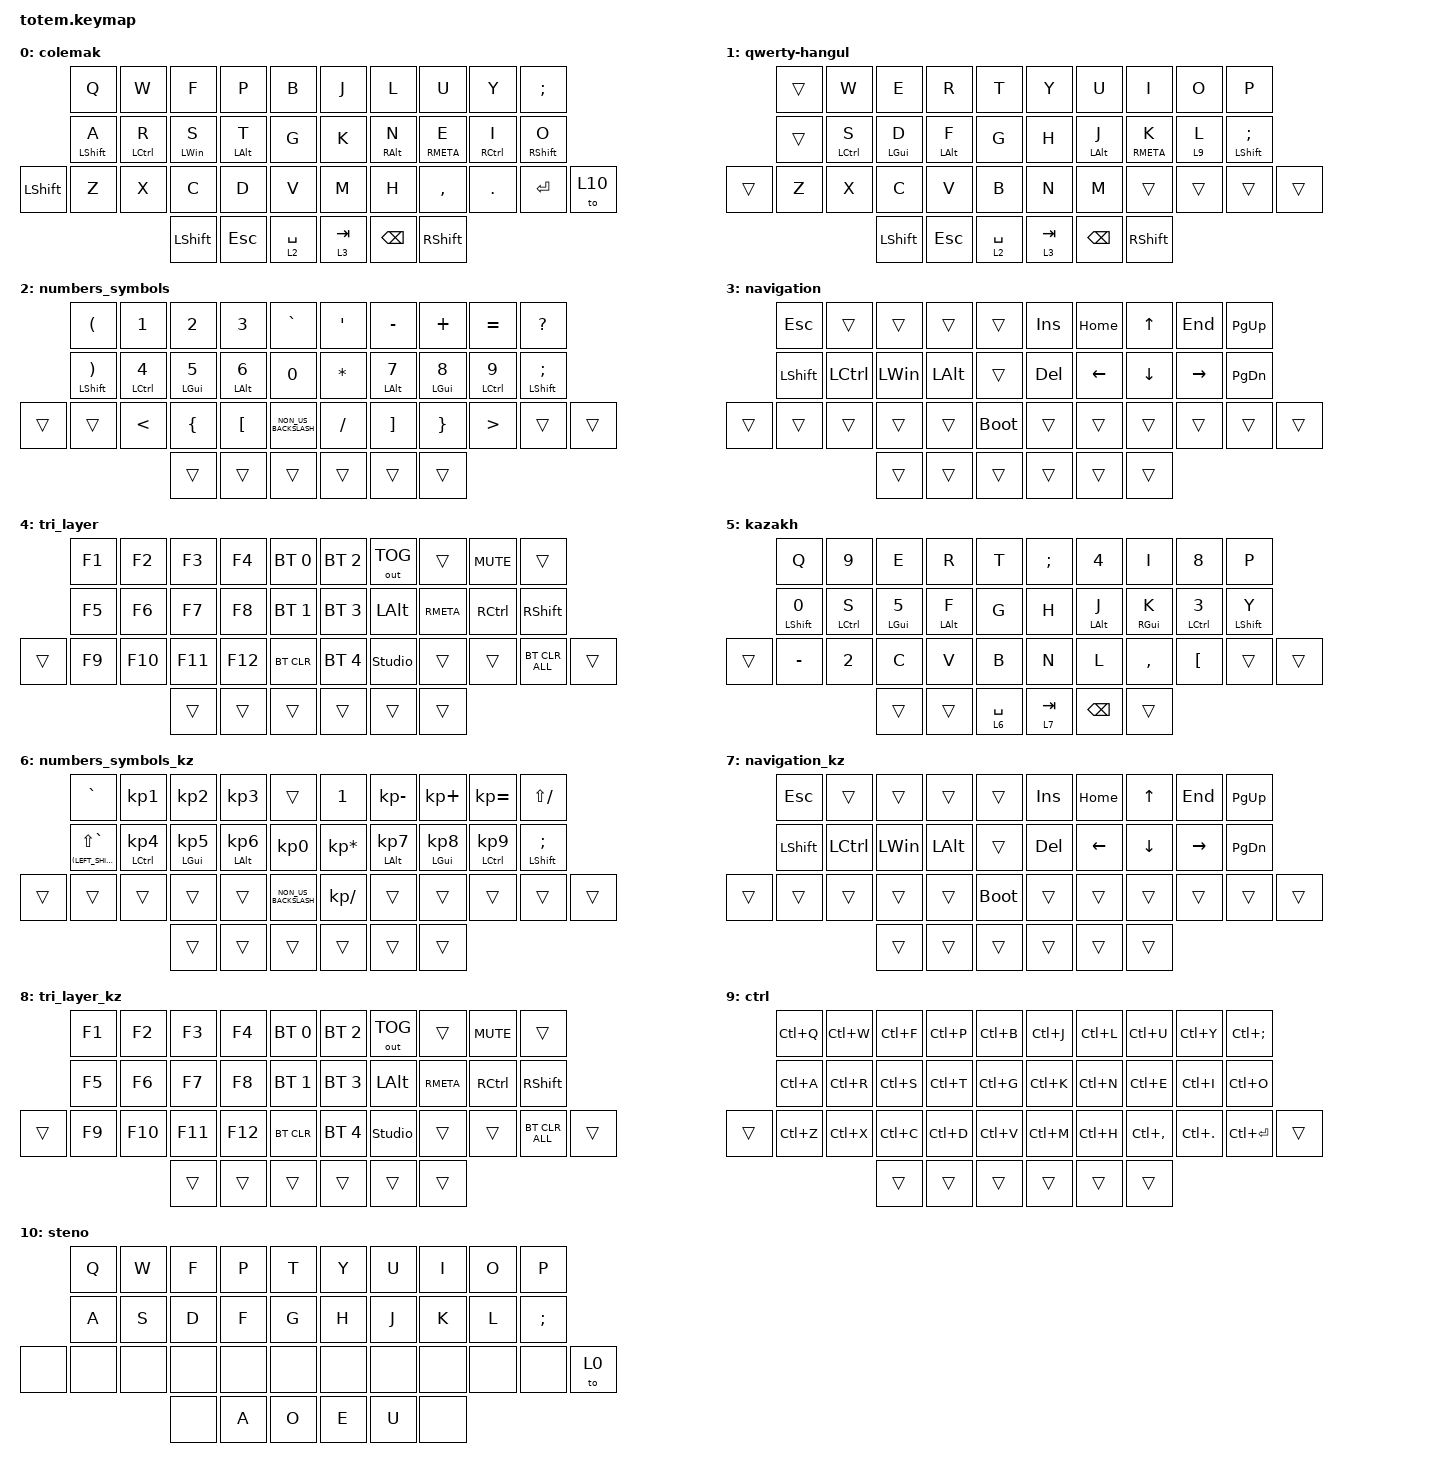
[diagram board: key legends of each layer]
//
//                                                        ▀▀▀▀▀     ▀▀▀▀▀          ▀▀█▀▀
//                                                        ▄▀▀▀▄  ▄  ▄▀▀▀▄  ▄  ▄▀▀▀▄  █  ▄▀▀▀▄
//                                                        █   █  █  █   █  █  █   █  █  █   █
//                                                         ▀▀▀   █   ▀▀▀   █   ▀▀▀   ▀   ▀▀▀
//                                                               █      ▄▄▄█▄▄▄    █   █  
//                                                               ▀      █  █  █     █▄█
//                                                             ▀▀▀▀▀    █  █  █      ▀
//                                                                      ▀  ▀  ▀
//
// ▄▄▄▄▄▄▄▄▄▄▄▄▄▄▄▄▄▄▄▄▄▄▄▄▄▄▄▄▄▄▄▄▄▄▄▄▄▄▄▄▄▄▄▄▄▄▄▄▄▄▄▄▄▄▄▄▄▄▄▄▄▄▄▄▄▄▄▄▄▄▄▄▄▄▄▄▄▄▄▄▄▄▄▄▄▄▄▄▄▄▄▄▄▄▄▄▄▄▄▄▄▄▄▄▄▄▄▄▄▄▄▄▄▄▄▄▄▄▄▄▄▄▄▄▄▄▄▄▄▄▄▄▄▄▄▄▄▄▄▄▄▄▄▄▄▄▄▄▄

#include <behaviors.dtsi>
#include <dt-bindings/zmk/bt.h>
#include <dt-bindings/zmk/keys.h>
#include <dt-bindings/zmk/outputs.h>

/ {
    behaviors {
        ht: hold_tap {
            label = "hold_tap";
            compatible = "zmk,behavior-hold-tap";
            #binding-cells = <2>;
            flavor = "tap-preferred";
            tapping-term-ms = <270>;
            quick-tap-ms = <130>;
            global-quick-tap;
            bindings = <&kp>, <&kp>;

            hold-trigger-key-positions = <5 7 8 9 6 15 16 18 19 17 27 28 29 26 25 33 10 11 12 13 32>;
        };

        rht: rht {
            compatible = "zmk,behavior-hold-tap";
            label = "RHT";
            #binding-cells = <2>;
            flavor = "tap-preferred";
            tapping-term-ms = <300>;
            quick-tap-ms = <150>;
            global-quick-tap;
            bindings = <&kp>, <&kp>;

            hold-trigger-key-positions = <0 1 2 3 4 14 24 23 13 12 22 21 11 10 20 30 19 18 17 16 31>;
        };
    };

    conditional_layers {
        compatible = "zmk,conditional-layers";

        tri_layer {
            if-layers = <2 3>;
            then-layer = <4>;
        };

        tri_kz {
            if-layers = <6 7>;
            then-layer = <8>;
        };
    };

    combos {
        compatible = "zmk,combos";

        Ctrl_Z {
            bindings = <&kp LC(Z)>;
            key-positions = <21 22>;
        };

        Ctrl_X {
            bindings = <&kp LC(X)>;
            key-positions = <22 23>;
        };

        Ctrl_C {
            bindings = <&kp LC(C)>;
            key-positions = <23 24>;
        };

        Ctrl_V {
            bindings = <&kp LC(V)>;
            key-positions = <24 25>;
        };

        capsword {
            bindings = <&caps_word>;
            key-positions = <33 36>;
        };

        ru {
            bindings = <&ruen 1 F15>;
            key-positions = <9 17>;
        };

        kaz {
            bindings = <&ruen 5 F16>;
            key-positions = <17 26>;
        };

        en {
            bindings = <&ruen 0 F14>;
            key-positions = <9 16>;
        };

        ru_eh {
            bindings = <&kp SQT>;
            key-positions = <0 1>;
            layers = <1 5>;
        };

        hard_sign {
            bindings = <&kp RIGHT_BRACKET>;
            key-positions = <26 27>;
            layers = <1 5>;
        };

        ru_dot {
            bindings = <&kp SLASH>;
            key-positions = <29 30>;
            layers = <1>;
        };

        kz_dot {
            bindings = <&kp N7>;
            key-positions = <29 30>;
            layers = <5>;
        };

        ru_comma {
            bindings = <&kp LS(SLASH)>;
            key-positions = <27 28>;
            layers = <1>;
        };

        kz_comma {
            bindings = <&kp N6>;
            key-positions = <27 28>;
            layers = <5>;
        };

        ru_x {
            bindings = <&kp LEFT_BRACKET>;
            key-positions = <8 9>;
            layers = <1>;
        };

        ru_colon {
            bindings = <&kp LS(NUMBER_6)>;
            key-positions = <29 17>;
            layers = <1>;
        };

        ru_semicolon {
            bindings = <&kp LS(NUMBER_4)>;
            key-positions = <28 29>;
            layers = <1>;
        };

        ru_yo {
            bindings = <&kp GRAVE>;
            key-positions = <3 4>;
            layers = <1>;
        };

        kz_hard_h {
            bindings = <&kp EQUAL>;
            key-positions = <15 16>;
            layers = <5>;
        };

        kz_f {
            bindings = <&kp A>;
            key-positions = <8 9>;
            layers = <5>;
        };

        kz_v {
            bindings = <&kp D>;
            key-positions = <18 19>;
            layers = <5>;
        };

        kz_soft {
            bindings = <&kp M>;
            key-positions = <16 26>;
            layers = <5>;
        };

        kz_ya {
            bindings = <&kp Z>;
            key-positions = <10 11>;
            layers = <5>;
        };

        kz_ch {
            bindings = <&kp X>;
            key-positions = <13 14>;
            layers = <5>;
        };

        kz_ts {
            bindings = <&kp W>;
            key-positions = <1 2>;
            layers = <5>;
        };

        kz_g {
            bindings = <&kp U>;
            key-positions = <16 17>;
            layers = <5>;
        };

        kz_yu {
            bindings = <&kp DOT>;
            key-positions = <18 17>;
            layers = <5>;
        };

        han {
            bindings = <&han 1>;
            key-positions = <7 5>;
            layers = <0 5>;
        };

        enhan {
            bindings = <&han 0>;
            key-positions = <7 5>;
            layers = <1>;
        };

        hanja {
            bindings = <&kp LANG_HANJA>;
            key-positions = <5 6 7>;
        };

        mouseless {
            bindings = <&kp F13>;
            key-positions = <13 16>;
        };

        monitor-off {
            bindings = <&kp F17>;
            key-positions = <31 20>;
        };
    };

    macros {
        ruen: ruen {
            compatible = "zmk,behavior-macro-two-param";
            #binding-cells = <2>;
            bindings = <&macro_param_1to1 &to MACRO_PLACEHOLDER &macro_param_2to1 &kp MACRO_PLACEHOLDER>;
            label = "RUEN";
        };

        han: han {
            compatible = "zmk,behavior-macro-one-param";
            #binding-cells = <1>;
            bindings = <&macro_param_1to1 &to MACRO_PLACEHOLDER &kp F14 &kp LANG_HANGEUL>;
            label = "han";
        };
    };

    keymap {
        compatible = "zmk,keymap";

        colemak {
            bindings = <
            &kp Q             &kp W        &kp F           &kp P           &kp B          &kp J      &kp L             &kp U            &kp Y         &kp SEMICOLON
            &ht LEFT_SHIFT A  &ht LCTRL R  &ht LEFT_WIN S  &ht LEFT_ALT T  &kp G          &kp K      &rht RIGHT_ALT N  &rht RMETA E     &rht RCTRL I  &rht RIGHT_SHIFT O
&kp LSHIFT  &kp Z             &kp X        &kp C           &kp D           &kp V          &kp M      &kp H             &kp COMMA        &kp DOT       &kp ENTER           &to 10
                                           &kp LEFT_SHIFT  &kp ESCAPE      &lt 2 SPACE    &lt 3 TAB  &kp BACKSPACE     &kp RIGHT_SHIFT
            >;
        };

        qwerty-hangul {
            bindings = <
        &trans  &kp W        &kp E           &kp R           &kp T          &kp Y      &kp U            &kp I            &kp O    &kp P
        &trans  &ht LCTRL S  &ht LGUI D      &ht LEFT_ALT F  &kp G          &kp H      &rht LEFT_ALT J  &rht RMETA K     &lt 9 L  &rht LEFT_SHIFT SEMICOLON
&trans  &kp Z   &kp X        &kp C           &kp V           &kp B          &kp N      &kp M            &trans           &trans   &trans                     &trans
                             &kp LEFT_SHIFT  &kp ESCAPE      &lt 2 SPACE    &lt 3 TAB  &kp BACKSPACE    &kp RIGHT_SHIFT
            >;
        };

        numbers_symbols {
            bindings = <
        &kp LEFT_PARENTHESIS              &kp NUMBER_1               &kp NUMBER_2           &kp NUMBER_3           &kp GRAVE               &kp SQT    &kp MINUS          &kp PLUS          &kp EQUAL             &kp QUESTION
        &ht LEFT_SHIFT RIGHT_PARENTHESIS  &ht LEFT_CONTROL NUMBER_4  &ht LEFT_GUI NUMBER_5  &ht LEFT_ALT NUMBER_6  &kp N0                  &kp STAR   &rht LEFT_ALT N7   &rht LEFT_GUI N8  &rht LEFT_CONTROL N9  &rht LEFT_SHIFT SEMICOLON
&trans  &trans                            &kp LESS_THAN              &kp LEFT_BRACE         &kp LEFT_BRACKET       &kp NON_US_BACKSLASH    &kp SLASH  &kp RIGHT_BRACKET  &kp RIGHT_BRACE   &kp GREATER_THAN      &trans                     &trans
                                                                     &trans                 &trans                 &trans                  &trans     &trans             &trans
            >;
        };

        navigation {
            bindings = <
        &kp ESCAPE  &trans     &trans        &trans        &trans         &kp INS  &kp HOME  &kp UP_ARROW  &kp END    &kp PAGE_UP
        &kp LSHIFT  &kp LCTRL  &kp LEFT_WIN  &kp LEFT_ALT  &trans         &kp DEL  &kp LEFT  &kp DOWN      &kp RIGHT  &kp PAGE_DOWN
&trans  &trans      &trans     &trans        &trans        &bootloader    &trans   &trans    &trans        &trans     &trans         &trans
                               &trans        &trans        &trans         &trans   &trans    &trans
            >;
        };

        tri_layer {
            bindings = <
        &kp F1  &kp F2   &kp F3   &kp F4   &bt BT_SEL 0    &bt BT_SEL 2  &out OUT_TOG    &trans     &kp C_MUTE         &trans
        &kp F5  &kp F6   &kp F7   &kp F8   &bt BT_SEL 1    &bt BT_SEL 3  &kp LEFT_ALT    &kp RMETA  &kp RIGHT_CONTROL  &kp RSHIFT
&trans  &kp F9  &kp F10  &kp F11  &kp F12  &bt BT_CLR      &bt BT_SEL 4  &studio_unlock  &trans     &trans             &bt BT_CLR_ALL  &trans
                         &trans   &trans   &trans          &trans        &trans          &trans
            >;
        };

        kazakh {
            bindings = <
        &kp Q          &kp N9       &kp E        &kp R       &kp T          &kp SEMICOLON  &kp N4         &kp I        &kp N8            &kp P
        &ht LSHIFT N0  &ht LCTRL S  &ht LGUI N5  &ht LALT F  &kp G          &kp H          &rht LALT J    &rht RGUI K  &rht LCTRL N3     &rht LSHIFT Y
&trans  &kp MINUS      &kp N2       &kp C        &kp V       &kp B          &kp N          &kp L          &kp COMMA    &kp LEFT_BRACKET  &trans         &trans
                                    &trans       &trans      &lt 6 SPACE    &lt 7 TAB      &kp BACKSPACE  &trans
            >;
        };

        numbers_symbols_kz {
            bindings = <
        &kp GRAVE                   &kp KP_N1               &kp KP_N2           &kp KP_N3           &trans                  &kp N1           &kp KP_SUBTRACT      &kp KP_PLUS          &kp KP_EQUAL             &kp LS(SLASH)
        &ht (LEFT_SHIFT) LS(GRAVE)  &ht LEFT_CONTROL KP_N4  &ht LEFT_GUI KP_N5  &ht LEFT_ALT KP_N6  &kp KP_N0               &kp KP_MULTIPLY  &rht LEFT_ALT KP_N7  &rht LEFT_GUI KP_N8  &rht LEFT_CONTROL KP_N9  &rht LEFT_SHIFT SEMICOLON
&trans  &trans                      &trans                  &trans              &trans              &kp NON_US_BACKSLASH    &kp KP_SLASH     &trans               &trans               &trans                   &trans                     &trans
                                                            &trans              &trans              &trans                  &trans           &trans               &trans
            >;
        };

        navigation_kz {
            bindings = <
        &kp ESCAPE  &trans     &trans        &trans        &trans         &kp INS  &kp HOME  &kp UP_ARROW  &kp END    &kp PAGE_UP
        &kp LSHIFT  &kp LCTRL  &kp LEFT_WIN  &kp LEFT_ALT  &trans         &kp DEL  &kp LEFT  &kp DOWN      &kp RIGHT  &kp PAGE_DOWN
&trans  &trans      &trans     &trans        &trans        &bootloader    &trans   &trans    &trans        &trans     &trans         &trans
                               &trans        &trans        &trans         &trans   &trans    &trans
            >;
        };

        tri_layer_kz {
            bindings = <
        &kp F1  &kp F2   &kp F3   &kp F4   &bt BT_SEL 0    &bt BT_SEL 2  &out OUT_TOG    &trans     &kp C_MUTE         &trans
        &kp F5  &kp F6   &kp F7   &kp F8   &bt BT_SEL 1    &bt BT_SEL 3  &kp LEFT_ALT    &kp RMETA  &kp RIGHT_CONTROL  &kp RSHIFT
&trans  &kp F9  &kp F10  &kp F11  &kp F12  &bt BT_CLR      &bt BT_SEL 4  &studio_unlock  &trans     &trans             &bt BT_CLR_ALL  &trans
                         &trans   &trans   &trans          &trans        &trans          &trans
            >;
        };

        ctrl {
            bindings = <
        &kp LC(Q)  &kp LC(W)  &kp LC(F)  &kp LC(P)  &kp LC(B)    &kp LC(J)  &kp LC(L)  &kp LC(U)      &kp LC(Y)    &kp LC(SEMI)
        &kp LC(A)  &kp LC(R)  &kp LC(S)  &kp LC(T)  &kp LC(G)    &kp LC(K)  &kp LC(N)  &kp LC(E)      &kp LC(I)    &kp LC(O)
&trans  &kp LC(Z)  &kp LC(X)  &kp LC(C)  &kp LC(D)  &kp LC(V)    &kp LC(M)  &kp LC(H)  &kp LC(COMMA)  &kp LC(DOT)  &kp LC(ENTER)  &trans
                              &trans     &trans     &trans       &trans     &trans     &trans
            >;
        };

        steno {
            bindings = <
       &kp Q  &kp W  &kp F  &kp P  &kp T    &kp Y  &kp U  &kp I  &kp O  &kp P
       &kp A  &kp S  &kp D  &kp F  &kp G    &kp H  &kp J  &kp K  &kp L  &kp SEMI
&none  &none  &none  &none  &none  &none    &none  &none  &none  &none  &none     &to 0
                     &none  &kp A  &kp O    &kp E  &kp U  &none
            >;
        };
    };
};
